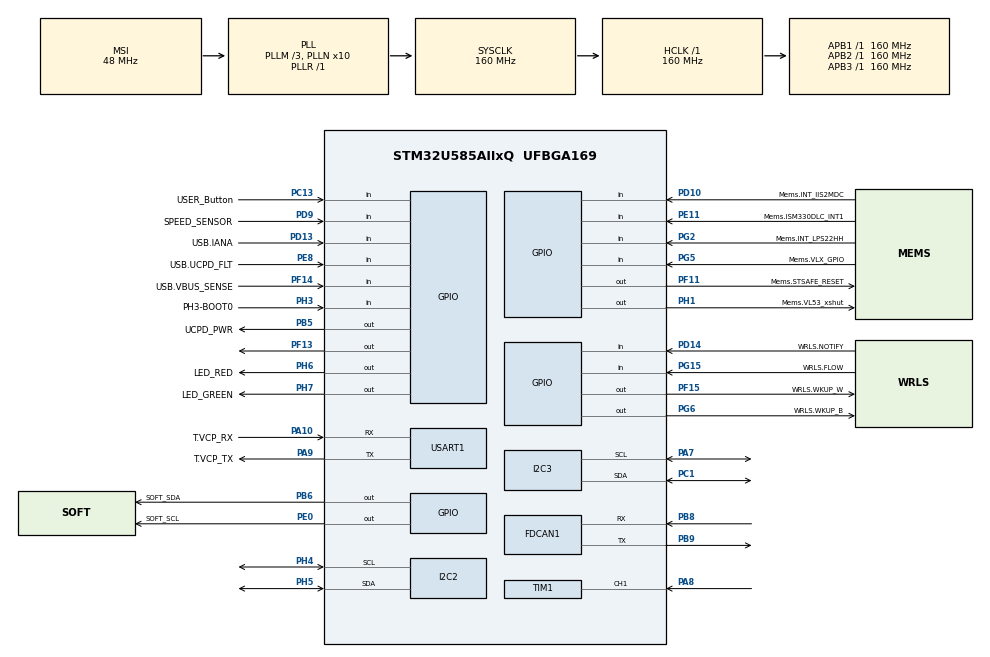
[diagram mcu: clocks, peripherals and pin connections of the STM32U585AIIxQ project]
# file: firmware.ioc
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CORTEX_M33_NS.userName=CORTEX_M33
FDCAN1.AutoRetransmission=ENABLE
FDCAN1.CalculateBaudRateNominal=1000000
FDCAN1.CalculateTimeBitNominal=1000
FDCAN1.CalculateTimeQuantumNominal=62.5
FDCAN1.NominalPrescaler=10
FDCAN1.NominalSyncJumpWidth=2
FDCAN1.NominalTimeSeg1=13
FDCAN1.NominalTimeSeg2=2
FDCAN1.StdFiltersNbr=1
FDCAN1.TxFifoQueueMode=FDCAN_TX_QUEUE_OPERATION
I2C2.Timing=0x30909DEC
I2C3.Timing=0x30909DEC
Mcu.Family=STM32U5
Mcu.Name=STM32U585AIIxQ
Mcu.Package=UFBGA169
NVIC.PriorityGroup=NVIC_PRIORITYGROUP_4
PA10.GPIO_Label=T.VCP_RX
PA10.Mode=Asynchronous
PA10.Signal=USART1_RX
PA11.GPIO_Label=USB.C_P
PA11.Signal=USB_OTG_FS_DM
PA12.GPIO_Label=USB.C_P
PA12.Signal=USB_OTG_FS_DP
PA13\ (JTMS/SWDIO).GPIO_Label=T.SWDIO
PA13\ (JTMS/SWDIO).Signal=DEBUG_JTMS-SWDIO
PA14\ (JTCK/SWCLK).GPIO_Label=T.SWCLK
PA14\ (JTCK/SWCLK).Signal=DEBUG_JTCK-SWCLK
PA15\ (JTDI).GPIO_Label=USB.UCPD_CC1
PA15\ (JTDI).Signal=UCPD1_CC1
PA7.GPIO_Pu=GPIO_PULLUP
PA7.Mode=I2C
PA7.Signal=I2C3_SCL
PA8.Signal=S_TIM1_CH1
PA9.GPIO_Label=T.VCP_TX
PA9.Mode=Asynchronous
PA9.Signal=USART1_TX
PB1.GPIO_Label=MIC.SDIN0
PB1.Signal=MDF1_SDI0
PB10.GPIO_Label=OCTOSPI.R_CLK_P
PB10.Signal=OCTOSPIM_P1_CLK
PB11.GPIO_Label=OCTOSPI.R_NCS
PB11.Signal=OCTOSPIM_P1_NCS
PB12.GPIO_Label=WRLS.SPI2_NSS
PB12.Signal=SPI2_NSS
PB15.GPIO_Label=USB.UCPD_CC2
PB15.Signal=UCPD1_CC2
PB3\ (JTDO/TRACESWO).GPIO_Label=T.SWO
PB3\ (JTDO/TRACESWO).Signal=DEBUG_JTDO-SWO
PB5.GPIO_Label=UCPD_PWR
PB5.Signal=GPIO_Output
PB6.GPIO_Label=SOFT_SDA
PB6.GPIO_ModeDefaultOutputPP=GPIO_MODE_OUTPUT_OD
PB6.GPIO_PuPd=GPIO_NOPULL
PB6.PinState=GPIO_PIN_SET
PB6.Signal=GPIO_Output
PB8.Mode=FDCAN_Activate
PB8.Signal=FDCAN1_RX
PB9.Mode=FDCAN_Activate
PB9.Signal=FDCAN1_TX
PC1.GPIO_Pu=GPIO_PULLUP
PC1.Mode=I2C
PC1.Signal=I2C3_SDA
PC10.GPIO_Label=WRLS.UART4_TX
PC10.Signal=UART4_TX
PC11.GPIO_Label=WRLS.UART4_RX
PC11.Signal=UART4_RX
PC13.GPIO_Label=USER_Button
PC13.Signal=GPIO_Input
PC14-OSC32_IN\ (PC14).GPIO_Label=PC14-OSC32_IN
PC14-OSC32_IN\ (PC14).Signal=RCC_OSC32_IN
PC15-OSC32_OUT\ (PC15).GPIO_Label=PC15-OSC32_OUT
PC15-OSC32_OUT\ (PC15).Signal=RCC_OSC32_OUT
PC3.GPIO_Label=OCTOSPI.R_IO6
PC3.Signal=OCTOSPIM_P1_IO6
PD1.GPIO_Label=WRLS.SPI2_SCK
PD1.Signal=SPI2_SCK
PD10.GPIO_Label=Mems.INT_IIS2MDC
PD10.Signal=GPIO_Input
PD13.GPIO_Label=USB.IANA
PD13.Signal=GPIO_Input
PD14.GPIO_Label=WRLS.NOTIFY
PD14.Signal=GPIO_Input
PD3.GPIO_Label=WRLS.SPI2_MISO
PD3.Signal=SPI2_MISO
PD4.GPIO_Label=WRLS.SPI2_MOSI
PD4.Signal=SPI2_MOSI
PD7.GPIO_Label=OCTOSPI.R_IO7
PD7.Signal=OCTOSPIM_P1_IO7
PD9.GPIO_Label=SPEED_SENSOR
PD9.Signal=GPIO_Input
PE0.GPIO_Label=SOFT_SCL
PE0.GPIO_ModeDefaultOutputPP=GPIO_MODE_OUTPUT_OD
PE0.GPIO_PuPd=GPIO_NOPULL
PE0.PinState=GPIO_PIN_SET
PE0.Signal=GPIO_Output
PE10.GPIO_Label=MIC.SDINx
PE10.Signal=ADF1_SDI0
PE11.GPIO_Label=Mems.ISM330DLC_INT1
PE11.Signal=GPIO_Input
PE3.GPIO_Label=OCTOSPI.R_DQS
PE3.Signal=OCTOSPIM_P1_DQS
PE8.GPIO_Label=USB.UCPD_FLT
PE8.Signal=GPIO_Input
PE9.GPIO_Label=MIC.CCK0
PE9.Signal=ADF1_CCK0
PF0.GPIO_Label=OCTOSPI.F_IO0
PF0.Signal=OCTOSPIM_P2_IO0
PF1.GPIO_Label=OCTOSPI.F_IO1
PF1.Signal=OCTOSPIM_P2_IO1
PF10.GPIO_Label=MIC.CCK1
PF10.Signal=MDF1_CCK1
PF11.GPIO_Label=Mems.STSAFE_RESET
PF11.Signal=GPIO_Output
PF12.GPIO_Label=OCTOSPI.F_DQS
PF12.Signal=OCTOSPIM_P2_DQS
PF13.PinState=GPIO_PIN_SET
PF13.Signal=GPIO_Output
PF14.GPIO_Label=USB.VBUS_SENSE
PF14.Signal=GPIO_Input
PF15.GPIO_Label=WRLS.WKUP_W
PF15.Signal=GPIO_Output
PF2.GPIO_Label=OCTOSPI.F_IO2
PF2.Signal=OCTOSPIM_P2_IO2
PF3.GPIO_Label=OCTOSPI.F_IO3
PF3.Signal=OCTOSPIM_P2_IO3
PF4.GPIO_Label=OCTOSPI.F_CLK_P
PF4.Signal=OCTOSPIM_P2_CLK
PF6.GPIO_Label=OCTOSPI.R_IO3
PF6.Signal=OCTOSPIM_P1_IO3
PF7.GPIO_Label=OCTOSPI.R_IO2
PF7.Signal=OCTOSPIM_P1_IO2
PF8.GPIO_Label=OCTOSPI.R_IO0
PF8.Signal=OCTOSPIM_P1_IO0
PF9.GPIO_Label=OCTOSPI.R_IO1
PF9.Signal=OCTOSPIM_P1_IO1
PG15.GPIO_Label=WRLS.FLOW
PG15.Signal=GPIO_Input
PG2.GPIO_Label=Mems.INT_LPS22HH
PG2.Signal=GPIO_Input
PG5.GPIO_Label=Mems.VLX_GPIO
PG5.Signal=GPIO_Input
PG6.GPIO_Label=WRLS.WKUP_B
PG6.Signal=GPIO_Output
PH1-OSC_OUT\ (PH1).GPIO_Label=Mems.VL53_xshut
PH1-OSC_OUT\ (PH1).Signal=GPIO_Output
PH10.GPIO_Label=OCTOSPI.F_IO5
PH10.Signal=OCTOSPIM_P2_IO5
PH11.GPIO_Label=OCTOSPI.F_IO6
PH11.Signal=OCTOSPIM_P2_IO6
PH12.GPIO_Label=OCTOSPI.F_IO7
PH12.Signal=OCTOSPIM_P2_IO7
PH2.GPIO_Label=OCTOSPI.R_IO4
PH2.Signal=OCTOSPIM_P1_IO4
PH3-BOOT0.GPIO_Label=PH3-BOOT0
PH3-BOOT0.Signal=GPIO_Input
PH4.Mode=I2C
PH4.Signal=I2C2_SCL
PH5.Mode=I2C
PH5.Signal=I2C2_SDA
PH6.GPIO_Label=LED_RED
PH6.Signal=GPIO_Output
PH7.GPIO_Label=LED_GREEN
PH7.Signal=GPIO_Output
PH9.GPIO_Label=OCTOSPI.F_IO4
PH9.Signal=OCTOSPIM_P2_IO4
PI0.GPIO_Label=OCTOSPI.R_IO5
PI0.Signal=OCTOSPIM_P1_IO5
PI5.GPIO_Label=OCTOSPI.F_NCS
PI5.Signal=OCTOSPIM_P2_NCS
PWR.PowerMode=PWR_SMPS_SUPPLY
ProjectManager.HeapSize=0x200
ProjectManager.StackSize=0x400
ProjectManager.TargetToolchain=STM32CubeIDE
RCC.ADCFreq_Value=16000000
RCC.AHBFreq_Value=160000000
RCC.APB1Freq_Value=160000000
RCC.APB1TimFreq_Value=160000000
RCC.APB2Freq_Value=160000000
RCC.APB2TimFreq_Value=160000000
RCC.APB3Freq_Value=160000000
RCC.CortexFreq_Value=160000000
RCC.DACCLockSelectionVirtual=RCC_DAC1CLKSOURCE_LSI
RCC.EPOD_VALUE=48000000
RCC.HCLKFreq_Value=160000000
RCC.HSE_VALUE=16000000
RCC.HSI48_VALUE=48000000
RCC.HSI_VALUE=16000000
RCC.LSE_VALUE=32768
RCC.LSIDIV_VALUE=32000
RCC.MSIClockRange=RCC_MSIRANGE_0
RCC.MSI_VALUE=48000000
RCC.PLL1Q=1
RCC.PLL1R=1
RCC.PLLFRACN=0
RCC.PLLM=3
RCC.PLLN=10
RCC.SYSCLKFreq_VALUE=160000000
RCC.SYSCLKSource=RCC_SYSCLKSOURCE_PLLCLK
RCC.USBFreq_Value=48000000
RCC.VCOOutputFreq_Value=160000000
SH.S_TIM1_CH1.0=TIM1_CH1,TriggerSource_TI1FP1
TIM1.Slave_TriggerFilter=15
USART1.VirtualMode-Asynchronous=VM_ASYNC
VP_ICACHE_VS_ICACHE.Mode=DirectMappedCache
VP_LPBAMQUEUE_VS_QUEUE.Mode=QUEUEMODE
VP_LPBAM_VS_SIG1.Mode=SmartRun
VP_LPBAM_VS_SIG4.Mode=LPDMA1
VP_MEMORYMAP_VS_MEMORYMAP.Mode=CurAppReg
VP_PWR_VS_LPOM.Mode=PowerOptimisation
VP_PWR_VS_SECSignals.Mode=Security/Privilege
VP_THREADX_VS_RTOSJjThreadXJjCoreJjDefault.Mode=Core_Default
VP_TIM1_VS_ControllerModeClock.Mode=Clock Mode
board=B-U585I-IOT02A

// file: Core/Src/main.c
/* USER CODE BEGIN Header */
/**
******************************************************************************
* @file           : main.c
* @brief          : Main program body
******************************************************************************
* @attention
*
* Copyright (c) 2025 STMicroelectronics.
* All rights reserved.
*
* This software is licensed under terms that can be found in the LICENSE file
* in the root directory of this software component.
* If no LICENSE file comes with this software, it is provided AS-IS.
*
******************************************************************************
*/
/* USER CODE END Header */
#include "app_threadx.h"
#include "main.h"

/* USER CODE BEGIN Includes */
#include "speed_sensor.h"
/* USER CODE END Includes */

FDCAN_HandleTypeDef hfdcan1;

I2C_HandleTypeDef hi2c2;
I2C_HandleTypeDef hi2c3;

TIM_HandleTypeDef htim1;

UART_HandleTypeDef huart1;

void SystemClock_Config(void);
static void SystemPower_Config(void);
static void MX_GPIO_Init(void);
static void MX_ICACHE_Init(void);
static void MX_FDCAN1_Init(void);
static void MX_USART1_UART_Init(void);
static void MX_TIM1_Init(void);
static void MX_I2C3_Init(void);
static void MX_I2C2_Init(void);

int main(void)
{

  /* MCU Configuration--------------------------------------------------------*/

  /* Reset of all peripherals, Initializes the Flash interface and the Systick. */
  HAL_Init();

  /* Configure the System Power */
  SystemPower_Config();

  /* Configure the system clock */
  SystemClock_Config();

  /* Initialize all configured peripherals */
  MX_GPIO_Init();
  MX_ICACHE_Init();
  MX_FDCAN1_Init();
  MX_USART1_UART_Init();
  MX_TIM1_Init();
  MX_I2C3_Init();
  MX_I2C2_Init();

  MX_ThreadX_Init();

  /* We should never get here as control is now taken by the scheduler */

  /* Infinite loop */
	while (1)
	{

	}
}

void SystemClock_Config(void)
{
  RCC_OscInitTypeDef RCC_OscInitStruct = {0};
  RCC_ClkInitTypeDef RCC_ClkInitStruct = {0};

  /** Configure the main internal regulator output voltage
  */
  if (HAL_PWREx_ControlVoltageScaling(PWR_REGULATOR_VOLTAGE_SCALE1) != HAL_OK)
  {
    Error_Handler();
  }

  /** Initializes the CPU, AHB and APB buses clocks
  */
  RCC_OscInitStruct.OscillatorType = RCC_OSCILLATORTYPE_MSI;
  RCC_OscInitStruct.MSIState = RCC_MSI_ON;
  RCC_OscInitStruct.MSICalibrationValue = RCC_MSICALIBRATION_DEFAULT;
  RCC_OscInitStruct.MSIClockRange = RCC_MSIRANGE_0;
  RCC_OscInitStruct.PLL.PLLState = RCC_PLL_ON;
  RCC_OscInitStruct.PLL.PLLSource = RCC_PLLSOURCE_MSI;
  RCC_OscInitStruct.PLL.PLLMBOOST = RCC_PLLMBOOST_DIV4;
  RCC_OscInitStruct.PLL.PLLM = 3;
  RCC_OscInitStruct.PLL.PLLN = 10;
  RCC_OscInitStruct.PLL.PLLP = 2;
  RCC_OscInitStruct.PLL.PLLQ = 1;
  RCC_OscInitStruct.PLL.PLLR = 1;
  RCC_OscInitStruct.PLL.PLLRGE = RCC_PLLVCIRANGE_1;
  RCC_OscInitStruct.PLL.PLLFRACN = 0;
  if (HAL_RCC_OscConfig(&RCC_OscInitStruct) != HAL_OK)
  {
    Error_Handler();
  }

  /** Initializes the CPU, AHB and APB buses clocks
  */
  RCC_ClkInitStruct.ClockType = RCC_CLOCKTYPE_HCLK|RCC_CLOCKTYPE_SYSCLK
                              |RCC_CLOCKTYPE_PCLK1|RCC_CLOCKTYPE_PCLK2
                              |RCC_CLOCKTYPE_PCLK3;
  RCC_ClkInitStruct.SYSCLKSource = RCC_SYSCLKSOURCE_PLLCLK;
  RCC_ClkInitStruct.AHBCLKDivider = RCC_SYSCLK_DIV1;
  RCC_ClkInitStruct.APB1CLKDivider = RCC_HCLK_DIV1;
  RCC_ClkInitStruct.APB2CLKDivider = RCC_HCLK_DIV1;
  RCC_ClkInitStruct.APB3CLKDivider = RCC_HCLK_DIV1;

  if (HAL_RCC_ClockConfig(&RCC_ClkInitStruct, FLASH_LATENCY_4) != HAL_OK)
  {
    Error_Handler();
  }
}

/**
  * @brief Power Configuration
  * @retval None
  */
static void SystemPower_Config(void)
{
  HAL_PWREx_EnableVddIO2();

  /*
   * Switch to SMPS regulator instead of LDO
   */
  if (HAL_PWREx_ConfigSupply(PWR_SMPS_SUPPLY) != HAL_OK)
  {
    Error_Handler();
  }
}

static void MX_FDCAN1_Init(void)
{
<<<<<<< HEAD

  /* USER CODE BEGIN FDCAN1_Init 0 */
  char *msg;

	FDCAN_FilterTypeDef sFilterConfig;
  /* USER CODE END FDCAN1_Init 0 */

  /* USER CODE BEGIN FDCAN1_Init 1 */

=======

  /* USER CODE BEGIN FDCAN1_Init 0 */

  /* USER CODE END FDCAN1_Init 0 */

  /* USER CODE BEGIN FDCAN1_Init 1 */

>>>>>>> 745192d0 (Added Ultrasonic sensor code to measure distance)
  /* USER CODE END FDCAN1_Init 1 */
  hfdcan1.Instance = FDCAN1;
  hfdcan1.Init.ClockDivider = FDCAN_CLOCK_DIV1;
  hfdcan1.Init.FrameFormat = FDCAN_FRAME_CLASSIC;
  hfdcan1.Init.Mode = FDCAN_MODE_NORMAL;
<<<<<<< HEAD
  hfdcan1.Init.AutoRetransmission = ENABLE;
  hfdcan1.Init.TransmitPause = DISABLE;
  hfdcan1.Init.ProtocolException = DISABLE;
  hfdcan1.Init.NominalPrescaler = 10;
  hfdcan1.Init.NominalSyncJumpWidth = 2;
  hfdcan1.Init.NominalTimeSeg1 = 13;
  hfdcan1.Init.NominalTimeSeg2 = 2;
=======
  hfdcan1.Init.AutoRetransmission = DISABLE;
  hfdcan1.Init.TransmitPause = DISABLE;
  hfdcan1.Init.ProtocolException = DISABLE;
  hfdcan1.Init.NominalPrescaler = 16;
  hfdcan1.Init.NominalSyncJumpWidth = 1;
  hfdcan1.Init.NominalTimeSeg1 = 1;
  hfdcan1.Init.NominalTimeSeg2 = 1;
>>>>>>> 745192d0 (Added Ultrasonic sensor code to measure distance)
  hfdcan1.Init.DataPrescaler = 1;
  hfdcan1.Init.DataSyncJumpWidth = 1;
  hfdcan1.Init.DataTimeSeg1 = 1;
  hfdcan1.Init.DataTimeSeg2 = 1;
<<<<<<< HEAD
  hfdcan1.Init.StdFiltersNbr = 1;
  hfdcan1.Init.ExtFiltersNbr = 0;
  hfdcan1.Init.TxFifoQueueMode = FDCAN_TX_QUEUE_OPERATION;
=======
  hfdcan1.Init.StdFiltersNbr = 0;
  hfdcan1.Init.ExtFiltersNbr = 0;
  hfdcan1.Init.TxFifoQueueMode = FDCAN_TX_FIFO_OPERATION;
>>>>>>> 745192d0 (Added Ultrasonic sensor code to measure distance)
  if (HAL_FDCAN_Init(&hfdcan1) != HAL_OK)
  {
    Error_Handler();
  }
  /* USER CODE BEGIN FDCAN1_Init 2 */
<<<<<<< HEAD
	sFilterConfig.IdType = FDCAN_STANDARD_ID;
	sFilterConfig.FilterIndex = 0;
	sFilterConfig.FilterType = FDCAN_FILTER_RANGE;
	sFilterConfig.FilterConfig = FDCAN_FILTER_TO_RXFIFO0;
	sFilterConfig.FilterID1 = 0x000;
	sFilterConfig.FilterID2 = 0x7FF;
	if (HAL_FDCAN_ConfigFilter(&hfdcan1, &sFilterConfig) != HAL_OK)
	{
		msg = "FDCAN Filter Config Failed\r\n";
		HAL_UART_Transmit(&huart1, (uint8_t*)msg, strlen(msg), HAL_MAX_DELAY);
		Error_Handler();
	}

	// Activate notifications
	HAL_FDCAN_ActivateNotification(&hfdcan1, FDCAN_IT_RX_FIFO0_NEW_MESSAGE, 0);

	// Start the CAN controller
	if (HAL_FDCAN_Start(&hfdcan1) != HAL_OK)
	{
		msg = "FDCAN Start Failed\r\n";
		HAL_UART_Transmit(&huart1, (uint8_t*)msg, strlen(msg), HAL_MAX_DELAY);
		Error_Handler();
	}
	else
	{
		msg = "FDCAN Started OK\r\n";
		HAL_UART_Transmit(&huart1, (uint8_t*)msg, strlen(msg), HAL_MAX_DELAY);
	}
=======

>>>>>>> 745192d0 (Added Ultrasonic sensor code to measure distance)
  /* USER CODE END FDCAN1_Init 2 */

}

static void MX_I2C2_Init(void)
{

  hi2c2.Instance = I2C2;
  hi2c2.Init.Timing = 0x30909DEC;
  hi2c2.Init.OwnAddress1 = 0;
  hi2c2.Init.AddressingMode = I2C_ADDRESSINGMODE_7BIT;
  hi2c2.Init.DualAddressMode = I2C_DUALADDRESS_DISABLE;
  hi2c2.Init.OwnAddress2 = 0;
  hi2c2.Init.OwnAddress2Masks = I2C_OA2_NOMASK;
  hi2c2.Init.GeneralCallMode = I2C_GENERALCALL_DISABLE;
  hi2c2.Init.NoStretchMode = I2C_NOSTRETCH_DISABLE;
  if (HAL_I2C_Init(&hi2c2) != HAL_OK)
  {
    Error_Handler();
  }

  /** Configure Analogue filter
  */
  if (HAL_I2CEx_ConfigAnalogFilter(&hi2c2, I2C_ANALOGFILTER_ENABLE) != HAL_OK)
  {
    Error_Handler();
  }

  /** Configure Digital filter
  */
  if (HAL_I2CEx_ConfigDigitalFilter(&hi2c2, 0) != HAL_OK)
  {
    Error_Handler();
  }

}

static void MX_I2C3_Init(void)
{

  hi2c3.Instance = I2C3;
  hi2c3.Init.Timing = 0x30909DEC;
  hi2c3.Init.OwnAddress1 = 0;
  hi2c3.Init.AddressingMode = I2C_ADDRESSINGMODE_7BIT;
  hi2c3.Init.DualAddressMode = I2C_DUALADDRESS_DISABLE;
  hi2c3.Init.OwnAddress2 = 0;
  hi2c3.Init.OwnAddress2Masks = I2C_OA2_NOMASK;
  hi2c3.Init.GeneralCallMode = I2C_GENERALCALL_DISABLE;
  hi2c3.Init.NoStretchMode = I2C_NOSTRETCH_DISABLE;
  if (HAL_I2C_Init(&hi2c3) != HAL_OK)
  {
    Error_Handler();
  }

  /** Configure Analogue filter
  */
  if (HAL_I2CEx_ConfigAnalogFilter(&hi2c3, I2C_ANALOGFILTER_ENABLE) != HAL_OK)
  {
    Error_Handler();
  }

  /** Configure Digital filter
  */
  if (HAL_I2CEx_ConfigDigitalFilter(&hi2c3, 0) != HAL_OK)
  {
    Error_Handler();
  }

}

static void MX_ICACHE_Init(void)
{

  /** Enable instruction cache in 1-way (direct mapped cache)
  */
  if (HAL_ICACHE_ConfigAssociativityMode(ICACHE_1WAY) != HAL_OK)
  {
    Error_Handler();
  }
  if (HAL_ICACHE_Enable() != HAL_OK)
  {
    Error_Handler();
  }

}

static void MX_TIM1_Init(void)
{

  TIM_SlaveConfigTypeDef sSlaveConfig = {0};
  TIM_MasterConfigTypeDef sMasterConfig = {0};

  htim1.Instance = TIM1;
  htim1.Init.Prescaler = 0;
  htim1.Init.CounterMode = TIM_COUNTERMODE_UP;
  htim1.Init.Period = 65535;
  htim1.Init.ClockDivision = TIM_CLOCKDIVISION_DIV1;
  htim1.Init.RepetitionCounter = 0;
  htim1.Init.AutoReloadPreload = TIM_AUTORELOAD_PRELOAD_DISABLE;
  if (HAL_TIM_Base_Init(&htim1) != HAL_OK)
  {
    Error_Handler();
  }
  sSlaveConfig.SlaveMode = TIM_SLAVEMODE_EXTERNAL1;
  sSlaveConfig.InputTrigger = TIM_TS_TI1FP1;
  sSlaveConfig.TriggerPolarity = TIM_TRIGGERPOLARITY_RISING;
  sSlaveConfig.TriggerFilter = 15;
  if (HAL_TIM_SlaveConfigSynchro(&htim1, &sSlaveConfig) != HAL_OK)
  {
    Error_Handler();
  }
  sMasterConfig.MasterOutputTrigger = TIM_TRGO_RESET;
  sMasterConfig.MasterOutputTrigger2 = TIM_TRGO2_RESET;
  sMasterConfig.MasterSlaveMode = TIM_MASTERSLAVEMODE_DISABLE;
  if (HAL_TIMEx_MasterConfigSynchronization(&htim1, &sMasterConfig) != HAL_OK)
  {
    Error_Handler();
  }

}

static void MX_USART1_UART_Init(void)
{

  huart1.Instance = USART1;
  huart1.Init.BaudRate = 115200;
  huart1.Init.WordLength = UART_WORDLENGTH_8B;
  huart1.Init.StopBits = UART_STOPBITS_1;
  huart1.Init.Parity = UART_PARITY_NONE;
  huart1.Init.Mode = UART_MODE_TX_RX;
  huart1.Init.HwFlowCtl = UART_HWCONTROL_NONE;
  huart1.Init.OverSampling = UART_OVERSAMPLING_16;
  huart1.Init.OneBitSampling = UART_ONE_BIT_SAMPLE_DISABLE;
  huart1.Init.ClockPrescaler = UART_PRESCALER_DIV1;
  huart1.AdvancedInit.AdvFeatureInit = UART_ADVFEATURE_NO_INIT;
  if (HAL_UART_Init(&huart1) != HAL_OK)
  {
    Error_Handler();
  }
  if (HAL_UARTEx_SetTxFifoThreshold(&huart1, UART_TXFIFO_THRESHOLD_1_8) != HAL_OK)
  {
    Error_Handler();
  }
  if (HAL_UARTEx_SetRxFifoThreshold(&huart1, UART_RXFIFO_THRESHOLD_1_8) != HAL_OK)
  {
    Error_Handler();
  }
  if (HAL_UARTEx_DisableFifoMode(&huart1) != HAL_OK)
  {
    Error_Handler();
  }

}

static void MX_GPIO_Init(void)
{
  GPIO_InitTypeDef GPIO_InitStruct = {0};

  /* GPIO Ports Clock Enable */
  __HAL_RCC_GPIOG_CLK_ENABLE();
  __HAL_RCC_GPIOC_CLK_ENABLE();
  __HAL_RCC_GPIOA_CLK_ENABLE();
  __HAL_RCC_GPIOI_CLK_ENABLE();
<<<<<<< HEAD
  __HAL_RCC_GPIOH_CLK_ENABLE();
  __HAL_RCC_GPIOB_CLK_ENABLE();
=======
  __HAL_RCC_GPIOB_CLK_ENABLE();
  __HAL_RCC_GPIOH_CLK_ENABLE();
>>>>>>> 745192d0 (Added Ultrasonic sensor code to measure distance)
  __HAL_RCC_GPIOD_CLK_ENABLE();
  __HAL_RCC_GPIOE_CLK_ENABLE();
  __HAL_RCC_GPIOF_CLK_ENABLE();

  /*Configure GPIO pin Output Level */
<<<<<<< HEAD
  HAL_GPIO_WritePin(UCPD_PWR_GPIO_Port, UCPD_PWR_Pin, GPIO_PIN_RESET);

  /*Configure GPIO pin Output Level */
  HAL_GPIO_WritePin(GPIOH, LED_RED_Pin|LED_GREEN_Pin|Mems_VL53_xshut_Pin, GPIO_PIN_RESET);

  /*Configure GPIO pin Output Level */
  HAL_GPIO_WritePin(WRLS_WKUP_B_GPIO_Port, WRLS_WKUP_B_Pin, GPIO_PIN_RESET);

  /*Configure GPIO pin Output Level */
  HAL_GPIO_WritePin(GPIOF, Mems_STSAFE_RESET_Pin|WRLS_WKUP_W_Pin, GPIO_PIN_RESET);

  /*Configure GPIO pin Output Level */
  HAL_GPIO_WritePin(GPIOF, GPIO_PIN_13, GPIO_PIN_SET);

  /*Configure GPIO pins : WRLS_FLOW_Pin Mems_VLX_GPIO_Pin Mems_INT_LPS22HH_Pin */
  GPIO_InitStruct.Pin = WRLS_FLOW_Pin|Mems_VLX_GPIO_Pin|Mems_INT_LPS22HH_Pin;
  GPIO_InitStruct.Mode = GPIO_MODE_INPUT;
  GPIO_InitStruct.Pull = GPIO_NOPULL;
  HAL_GPIO_Init(GPIOG, &GPIO_InitStruct);

  /*Configure GPIO pins : WRLS_UART4_RX_Pin WRLS_UART4_TX_Pin */
  GPIO_InitStruct.Pin = WRLS_UART4_RX_Pin|WRLS_UART4_TX_Pin;
  GPIO_InitStruct.Mode = GPIO_MODE_AF_PP;
  GPIO_InitStruct.Pull = GPIO_NOPULL;
  GPIO_InitStruct.Speed = GPIO_SPEED_FREQ_LOW;
  GPIO_InitStruct.Alternate = GPIO_AF8_UART4;
  HAL_GPIO_Init(GPIOC, &GPIO_InitStruct);

  /*Configure GPIO pin : USB_UCPD_CC1_Pin */
  GPIO_InitStruct.Pin = USB_UCPD_CC1_Pin;
  GPIO_InitStruct.Mode = GPIO_MODE_ANALOG;
  GPIO_InitStruct.Pull = GPIO_NOPULL;
  HAL_GPIO_Init(USB_UCPD_CC1_GPIO_Port, &GPIO_InitStruct);

  /*Configure GPIO pin : OCTOSPI_F_NCS_Pin */
  GPIO_InitStruct.Pin = OCTOSPI_F_NCS_Pin;
  GPIO_InitStruct.Mode = GPIO_MODE_AF_PP;
  GPIO_InitStruct.Pull = GPIO_NOPULL;
  GPIO_InitStruct.Speed = GPIO_SPEED_FREQ_VERY_HIGH;
  GPIO_InitStruct.Alternate = GPIO_AF5_OCTOSPI2;
  HAL_GPIO_Init(OCTOSPI_F_NCS_GPIO_Port, &GPIO_InitStruct);

  /*Configure GPIO pin : OCTOSPI_R_IO5_Pin */
  GPIO_InitStruct.Pin = OCTOSPI_R_IO5_Pin;
  GPIO_InitStruct.Mode = GPIO_MODE_AF_PP;
  GPIO_InitStruct.Pull = GPIO_NOPULL;
  GPIO_InitStruct.Speed = GPIO_SPEED_FREQ_VERY_HIGH;
  GPIO_InitStruct.Alternate = GPIO_AF3_OCTOSPI1;
  HAL_GPIO_Init(OCTOSPI_R_IO5_GPIO_Port, &GPIO_InitStruct);

  /*Configure GPIO pins : OCTOSPI_F_IO7_Pin OCTOSPI_F_IO5_Pin OCTOSPI_F_IO6_Pin OCTOSPI_F_IO4_Pin */
  GPIO_InitStruct.Pin = OCTOSPI_F_IO7_Pin|OCTOSPI_F_IO5_Pin|OCTOSPI_F_IO6_Pin|OCTOSPI_F_IO4_Pin;
=======
  HAL_GPIO_WritePin(SOFT_SDA_GPIO_Port, SOFT_SDA_Pin, GPIO_PIN_SET);

  /*Configure GPIO pin Output Level */
  HAL_GPIO_WritePin(UCPD_PWR_GPIO_Port, UCPD_PWR_Pin, GPIO_PIN_RESET);

  /*Configure GPIO pin Output Level */
  HAL_GPIO_WritePin(SOFT_SCL_GPIO_Port, SOFT_SCL_Pin, GPIO_PIN_SET);

  /*Configure GPIO pin Output Level */
  HAL_GPIO_WritePin(GPIOH, LED_RED_Pin|LED_GREEN_Pin|Mems_VL53_xshut_Pin, GPIO_PIN_RESET);

  /*Configure GPIO pin Output Level */
  HAL_GPIO_WritePin(WRLS_WKUP_B_GPIO_Port, WRLS_WKUP_B_Pin, GPIO_PIN_RESET);

  /*Configure GPIO pin Output Level */
  HAL_GPIO_WritePin(GPIOF, Mems_STSAFE_RESET_Pin|WRLS_WKUP_W_Pin, GPIO_PIN_RESET);

  /*Configure GPIO pin Output Level */
  HAL_GPIO_WritePin(GPIOF, GPIO_PIN_13, GPIO_PIN_SET);

  /*Configure GPIO pins : WRLS_FLOW_Pin Mems_VLX_GPIO_Pin Mems_INT_LPS22HH_Pin */
  GPIO_InitStruct.Pin = WRLS_FLOW_Pin|Mems_VLX_GPIO_Pin|Mems_INT_LPS22HH_Pin;
  GPIO_InitStruct.Mode = GPIO_MODE_INPUT;
  GPIO_InitStruct.Pull = GPIO_NOPULL;
  HAL_GPIO_Init(GPIOG, &GPIO_InitStruct);

  /*Configure GPIO pins : WRLS_UART4_RX_Pin WRLS_UART4_TX_Pin */
  GPIO_InitStruct.Pin = WRLS_UART4_RX_Pin|WRLS_UART4_TX_Pin;
  GPIO_InitStruct.Mode = GPIO_MODE_AF_PP;
  GPIO_InitStruct.Pull = GPIO_NOPULL;
  GPIO_InitStruct.Speed = GPIO_SPEED_FREQ_LOW;
  GPIO_InitStruct.Alternate = GPIO_AF8_UART4;
  HAL_GPIO_Init(GPIOC, &GPIO_InitStruct);

  /*Configure GPIO pin : USB_UCPD_CC1_Pin */
  GPIO_InitStruct.Pin = USB_UCPD_CC1_Pin;
  GPIO_InitStruct.Mode = GPIO_MODE_ANALOG;
  GPIO_InitStruct.Pull = GPIO_NOPULL;
  HAL_GPIO_Init(USB_UCPD_CC1_GPIO_Port, &GPIO_InitStruct);

  /*Configure GPIO pin : OCTOSPI_F_NCS_Pin */
  GPIO_InitStruct.Pin = OCTOSPI_F_NCS_Pin;
>>>>>>> 745192d0 (Added Ultrasonic sensor code to measure distance)
  GPIO_InitStruct.Mode = GPIO_MODE_AF_PP;
  GPIO_InitStruct.Pull = GPIO_NOPULL;
  GPIO_InitStruct.Speed = GPIO_SPEED_FREQ_VERY_HIGH;
  GPIO_InitStruct.Alternate = GPIO_AF5_OCTOSPI2;
<<<<<<< HEAD
  HAL_GPIO_Init(GPIOH, &GPIO_InitStruct);

  /*Configure GPIO pin : PH3_BOOT0_Pin */
  GPIO_InitStruct.Pin = PH3_BOOT0_Pin;
  GPIO_InitStruct.Mode = GPIO_MODE_INPUT;
  GPIO_InitStruct.Pull = GPIO_NOPULL;
  HAL_GPIO_Init(PH3_BOOT0_GPIO_Port, &GPIO_InitStruct);

  /*Configure GPIO pin : UCPD_PWR_Pin */
  GPIO_InitStruct.Pin = UCPD_PWR_Pin;
  GPIO_InitStruct.Mode = GPIO_MODE_OUTPUT_PP;
  GPIO_InitStruct.Pull = GPIO_NOPULL;
  GPIO_InitStruct.Speed = GPIO_SPEED_FREQ_LOW;
  HAL_GPIO_Init(UCPD_PWR_GPIO_Port, &GPIO_InitStruct);

  /*Configure GPIO pins : WRLS_SPI2_MOSI_Pin WRLS_SPI2_MISO_Pin WRLS_SPI2_SCK_Pin */
  GPIO_InitStruct.Pin = WRLS_SPI2_MOSI_Pin|WRLS_SPI2_MISO_Pin|WRLS_SPI2_SCK_Pin;
  GPIO_InitStruct.Mode = GPIO_MODE_AF_PP;
  GPIO_InitStruct.Pull = GPIO_NOPULL;
  GPIO_InitStruct.Speed = GPIO_SPEED_FREQ_LOW;
  GPIO_InitStruct.Alternate = GPIO_AF5_SPI2;
  HAL_GPIO_Init(GPIOD, &GPIO_InitStruct);

  /*Configure GPIO pin : OCTOSPI_R_DQS_Pin */
  GPIO_InitStruct.Pin = OCTOSPI_R_DQS_Pin;
  GPIO_InitStruct.Mode = GPIO_MODE_AF_PP;
  GPIO_InitStruct.Pull = GPIO_NOPULL;
  GPIO_InitStruct.Speed = GPIO_SPEED_FREQ_VERY_HIGH;
  GPIO_InitStruct.Alternate = GPIO_AF3_OCTOSPI1;
  HAL_GPIO_Init(OCTOSPI_R_DQS_GPIO_Port, &GPIO_InitStruct);

  /*Configure GPIO pin : OCTOSPI_R_IO7_Pin */
  GPIO_InitStruct.Pin = OCTOSPI_R_IO7_Pin;
  GPIO_InitStruct.Mode = GPIO_MODE_AF_PP;
  GPIO_InitStruct.Pull = GPIO_NOPULL;
  GPIO_InitStruct.Speed = GPIO_SPEED_FREQ_VERY_HIGH;
  GPIO_InitStruct.Alternate = GPIO_AF10_OCTOSPI1;
  HAL_GPIO_Init(OCTOSPI_R_IO7_GPIO_Port, &GPIO_InitStruct);

  /*Configure GPIO pins : OCTOSPI_F_IO0_Pin OCTOSPI_F_IO1_Pin OCTOSPI_F_IO2_Pin OCTOSPI_F_IO3_Pin
                           OCTOSPI_F_CLK_P_Pin OCTOSPI_F_DQS_Pin */
  GPIO_InitStruct.Pin = OCTOSPI_F_IO0_Pin|OCTOSPI_F_IO1_Pin|OCTOSPI_F_IO2_Pin|OCTOSPI_F_IO3_Pin
                          |OCTOSPI_F_CLK_P_Pin|OCTOSPI_F_DQS_Pin;
  GPIO_InitStruct.Mode = GPIO_MODE_AF_PP;
  GPIO_InitStruct.Pull = GPIO_NOPULL;
  GPIO_InitStruct.Speed = GPIO_SPEED_FREQ_VERY_HIGH;
  GPIO_InitStruct.Alternate = GPIO_AF5_OCTOSPI2;
  HAL_GPIO_Init(GPIOF, &GPIO_InitStruct);

  /*Configure GPIO pin : USER_Button_Pin */
  GPIO_InitStruct.Pin = USER_Button_Pin;
  GPIO_InitStruct.Mode = GPIO_MODE_INPUT;
  GPIO_InitStruct.Pull = GPIO_NOPULL;
  HAL_GPIO_Init(USER_Button_GPIO_Port, &GPIO_InitStruct);

  /*Configure GPIO pins : LED_RED_Pin LED_GREEN_Pin Mems_VL53_xshut_Pin */
  GPIO_InitStruct.Pin = LED_RED_Pin|LED_GREEN_Pin|Mems_VL53_xshut_Pin;
  GPIO_InitStruct.Mode = GPIO_MODE_OUTPUT_PP;
  GPIO_InitStruct.Pull = GPIO_NOPULL;
  GPIO_InitStruct.Speed = GPIO_SPEED_FREQ_LOW;
  HAL_GPIO_Init(GPIOH, &GPIO_InitStruct);

  /*Configure GPIO pins : OCTOSPI_R_IO0_Pin OCTOSPI_R_IO2_Pin OCTOSPI_R_IO1_Pin OCTOSPI_R_IO3_Pin */
  GPIO_InitStruct.Pin = OCTOSPI_R_IO0_Pin|OCTOSPI_R_IO2_Pin|OCTOSPI_R_IO1_Pin|OCTOSPI_R_IO3_Pin;
=======
  HAL_GPIO_Init(OCTOSPI_F_NCS_GPIO_Port, &GPIO_InitStruct);

  /*Configure GPIO pin : SOFT_SDA_Pin */
  GPIO_InitStruct.Pin = SOFT_SDA_Pin;
  GPIO_InitStruct.Mode = GPIO_MODE_OUTPUT_OD;
  GPIO_InitStruct.Pull = GPIO_NOPULL;
  GPIO_InitStruct.Speed = GPIO_SPEED_FREQ_LOW;
  HAL_GPIO_Init(SOFT_SDA_GPIO_Port, &GPIO_InitStruct);

  /*Configure GPIO pin : OCTOSPI_R_IO5_Pin */
  GPIO_InitStruct.Pin = OCTOSPI_R_IO5_Pin;
  GPIO_InitStruct.Mode = GPIO_MODE_AF_PP;
  GPIO_InitStruct.Pull = GPIO_NOPULL;
  GPIO_InitStruct.Speed = GPIO_SPEED_FREQ_VERY_HIGH;
  GPIO_InitStruct.Alternate = GPIO_AF3_OCTOSPI1;
  HAL_GPIO_Init(OCTOSPI_R_IO5_GPIO_Port, &GPIO_InitStruct);

  /*Configure GPIO pins : OCTOSPI_F_IO7_Pin OCTOSPI_F_IO5_Pin OCTOSPI_F_IO6_Pin OCTOSPI_F_IO4_Pin */
  GPIO_InitStruct.Pin = OCTOSPI_F_IO7_Pin|OCTOSPI_F_IO5_Pin|OCTOSPI_F_IO6_Pin|OCTOSPI_F_IO4_Pin;
  GPIO_InitStruct.Mode = GPIO_MODE_AF_PP;
  GPIO_InitStruct.Pull = GPIO_NOPULL;
  GPIO_InitStruct.Speed = GPIO_SPEED_FREQ_VERY_HIGH;
  GPIO_InitStruct.Alternate = GPIO_AF5_OCTOSPI2;
  HAL_GPIO_Init(GPIOH, &GPIO_InitStruct);

  /*Configure GPIO pin : PH3_BOOT0_Pin */
  GPIO_InitStruct.Pin = PH3_BOOT0_Pin;
  GPIO_InitStruct.Mode = GPIO_MODE_INPUT;
  GPIO_InitStruct.Pull = GPIO_NOPULL;
  HAL_GPIO_Init(PH3_BOOT0_GPIO_Port, &GPIO_InitStruct);

  /*Configure GPIO pin : UCPD_PWR_Pin */
  GPIO_InitStruct.Pin = UCPD_PWR_Pin;
  GPIO_InitStruct.Mode = GPIO_MODE_OUTPUT_PP;
  GPIO_InitStruct.Pull = GPIO_NOPULL;
  GPIO_InitStruct.Speed = GPIO_SPEED_FREQ_LOW;
  HAL_GPIO_Init(UCPD_PWR_GPIO_Port, &GPIO_InitStruct);

  /*Configure GPIO pins : WRLS_SPI2_MOSI_Pin WRLS_SPI2_MISO_Pin WRLS_SPI2_SCK_Pin */
  GPIO_InitStruct.Pin = WRLS_SPI2_MOSI_Pin|WRLS_SPI2_MISO_Pin|WRLS_SPI2_SCK_Pin;
  GPIO_InitStruct.Mode = GPIO_MODE_AF_PP;
  GPIO_InitStruct.Pull = GPIO_NOPULL;
  GPIO_InitStruct.Speed = GPIO_SPEED_FREQ_LOW;
  GPIO_InitStruct.Alternate = GPIO_AF5_SPI2;
  HAL_GPIO_Init(GPIOD, &GPIO_InitStruct);

  /*Configure GPIO pin : OCTOSPI_R_DQS_Pin */
  GPIO_InitStruct.Pin = OCTOSPI_R_DQS_Pin;
  GPIO_InitStruct.Mode = GPIO_MODE_AF_PP;
  GPIO_InitStruct.Pull = GPIO_NOPULL;
  GPIO_InitStruct.Speed = GPIO_SPEED_FREQ_VERY_HIGH;
  GPIO_InitStruct.Alternate = GPIO_AF3_OCTOSPI1;
  HAL_GPIO_Init(OCTOSPI_R_DQS_GPIO_Port, &GPIO_InitStruct);

  /*Configure GPIO pin : SOFT_SCL_Pin */
  GPIO_InitStruct.Pin = SOFT_SCL_Pin;
  GPIO_InitStruct.Mode = GPIO_MODE_OUTPUT_OD;
  GPIO_InitStruct.Pull = GPIO_NOPULL;
  GPIO_InitStruct.Speed = GPIO_SPEED_FREQ_LOW;
  HAL_GPIO_Init(SOFT_SCL_GPIO_Port, &GPIO_InitStruct);

  /*Configure GPIO pin : OCTOSPI_R_IO7_Pin */
  GPIO_InitStruct.Pin = OCTOSPI_R_IO7_Pin;
>>>>>>> 745192d0 (Added Ultrasonic sensor code to measure distance)
  GPIO_InitStruct.Mode = GPIO_MODE_AF_PP;
  GPIO_InitStruct.Pull = GPIO_NOPULL;
  GPIO_InitStruct.Speed = GPIO_SPEED_FREQ_VERY_HIGH;
  GPIO_InitStruct.Alternate = GPIO_AF10_OCTOSPI1;
<<<<<<< HEAD
  HAL_GPIO_Init(GPIOF, &GPIO_InitStruct);

  /*Configure GPIO pin : OCTOSPI_R_IO4_Pin */
  GPIO_InitStruct.Pin = OCTOSPI_R_IO4_Pin;
  GPIO_InitStruct.Mode = GPIO_MODE_AF_PP;
  GPIO_InitStruct.Pull = GPIO_NOPULL;
  GPIO_InitStruct.Speed = GPIO_SPEED_FREQ_VERY_HIGH;
  GPIO_InitStruct.Alternate = GPIO_AF3_OCTOSPI1;
  HAL_GPIO_Init(OCTOSPI_R_IO4_GPIO_Port, &GPIO_InitStruct);

  /*Configure GPIO pins : USB_C_P_Pin USB_C_PA11_Pin */
  GPIO_InitStruct.Pin = USB_C_P_Pin|USB_C_PA11_Pin;
  GPIO_InitStruct.Mode = GPIO_MODE_AF_PP;
  GPIO_InitStruct.Pull = GPIO_NOPULL;
  GPIO_InitStruct.Speed = GPIO_SPEED_FREQ_LOW;
  GPIO_InitStruct.Alternate = GPIO_AF10_USB;
  HAL_GPIO_Init(GPIOA, &GPIO_InitStruct);

  /*Configure GPIO pin : MIC_CCK1_Pin */
  GPIO_InitStruct.Pin = MIC_CCK1_Pin;
  GPIO_InitStruct.Mode = GPIO_MODE_AF_PP;
  GPIO_InitStruct.Pull = GPIO_NOPULL;
  GPIO_InitStruct.Speed = GPIO_SPEED_FREQ_LOW;
  GPIO_InitStruct.Alternate = GPIO_AF6_MDF1;
  HAL_GPIO_Init(MIC_CCK1_GPIO_Port, &GPIO_InitStruct);

  /*Configure GPIO pins : MIC_SDINx_Pin MIC_CCK0_Pin */
  GPIO_InitStruct.Pin = MIC_SDINx_Pin|MIC_CCK0_Pin;
  GPIO_InitStruct.Mode = GPIO_MODE_AF_PP;
  GPIO_InitStruct.Pull = GPIO_NOPULL;
  GPIO_InitStruct.Speed = GPIO_SPEED_FREQ_LOW;
  GPIO_InitStruct.Alternate = GPIO_AF3_ADF1;
  HAL_GPIO_Init(GPIOE, &GPIO_InitStruct);

  /*Configure GPIO pin : WRLS_WKUP_B_Pin */
  GPIO_InitStruct.Pin = WRLS_WKUP_B_Pin;
  GPIO_InitStruct.Mode = GPIO_MODE_OUTPUT_PP;
  GPIO_InitStruct.Pull = GPIO_NOPULL;
  GPIO_InitStruct.Speed = GPIO_SPEED_FREQ_LOW;
  HAL_GPIO_Init(WRLS_WKUP_B_GPIO_Port, &GPIO_InitStruct);

  /*Configure GPIO pins : WRLS_NOTIFY_Pin Mems_INT_IIS2MDC_Pin USB_IANA_Pin SPEED_SENSOR_Pin */
  GPIO_InitStruct.Pin = WRLS_NOTIFY_Pin|Mems_INT_IIS2MDC_Pin|USB_IANA_Pin|SPEED_SENSOR_Pin;
  GPIO_InitStruct.Mode = GPIO_MODE_INPUT;
  GPIO_InitStruct.Pull = GPIO_NOPULL;
  HAL_GPIO_Init(GPIOD, &GPIO_InitStruct);

  /*Configure GPIO pin : OCTOSPI_R_IO6_Pin */
  GPIO_InitStruct.Pin = OCTOSPI_R_IO6_Pin;
  GPIO_InitStruct.Mode = GPIO_MODE_AF_PP;
  GPIO_InitStruct.Pull = GPIO_NOPULL;
  GPIO_InitStruct.Speed = GPIO_SPEED_FREQ_VERY_HIGH;
  GPIO_InitStruct.Alternate = GPIO_AF10_OCTOSPI1;
  HAL_GPIO_Init(OCTOSPI_R_IO6_GPIO_Port, &GPIO_InitStruct);

  /*Configure GPIO pins : USB_UCPD_FLT_Pin Mems_ISM330DLC_INT1_Pin */
  GPIO_InitStruct.Pin = USB_UCPD_FLT_Pin|Mems_ISM330DLC_INT1_Pin;
  GPIO_InitStruct.Mode = GPIO_MODE_INPUT;
  GPIO_InitStruct.Pull = GPIO_NOPULL;
  HAL_GPIO_Init(GPIOE, &GPIO_InitStruct);

  /*Configure GPIO pins : OCTOSPI_R_CLK_P_Pin OCTOSPI_R_NCS_Pin */
  GPIO_InitStruct.Pin = OCTOSPI_R_CLK_P_Pin|OCTOSPI_R_NCS_Pin;
  GPIO_InitStruct.Mode = GPIO_MODE_AF_PP;
  GPIO_InitStruct.Pull = GPIO_NOPULL;
  GPIO_InitStruct.Speed = GPIO_SPEED_FREQ_VERY_HIGH;
  GPIO_InitStruct.Alternate = GPIO_AF10_OCTOSPI1;
  HAL_GPIO_Init(GPIOB, &GPIO_InitStruct);

  /*Configure GPIO pin : USB_VBUS_SENSE_Pin */
  GPIO_InitStruct.Pin = USB_VBUS_SENSE_Pin;
  GPIO_InitStruct.Mode = GPIO_MODE_INPUT;
  GPIO_InitStruct.Pull = GPIO_NOPULL;
  HAL_GPIO_Init(USB_VBUS_SENSE_GPIO_Port, &GPIO_InitStruct);

  /*Configure GPIO pin : WRLS_SPI2_NSS_Pin */
  GPIO_InitStruct.Pin = WRLS_SPI2_NSS_Pin;
  GPIO_InitStruct.Mode = GPIO_MODE_AF_PP;
  GPIO_InitStruct.Pull = GPIO_NOPULL;
  GPIO_InitStruct.Speed = GPIO_SPEED_FREQ_LOW;
  GPIO_InitStruct.Alternate = GPIO_AF5_SPI2;
  HAL_GPIO_Init(WRLS_SPI2_NSS_GPIO_Port, &GPIO_InitStruct);

  /*Configure GPIO pin : USB_UCPD_CC2_Pin */
  GPIO_InitStruct.Pin = USB_UCPD_CC2_Pin;
  GPIO_InitStruct.Mode = GPIO_MODE_ANALOG;
  GPIO_InitStruct.Pull = GPIO_NOPULL;
  HAL_GPIO_Init(USB_UCPD_CC2_GPIO_Port, &GPIO_InitStruct);

  /*Configure GPIO pins : Mems_STSAFE_RESET_Pin PF13 WRLS_WKUP_W_Pin */
  GPIO_InitStruct.Pin = Mems_STSAFE_RESET_Pin|GPIO_PIN_13|WRLS_WKUP_W_Pin;
  GPIO_InitStruct.Mode = GPIO_MODE_OUTPUT_PP;
  GPIO_InitStruct.Pull = GPIO_NOPULL;
  GPIO_InitStruct.Speed = GPIO_SPEED_FREQ_LOW;
  HAL_GPIO_Init(GPIOF, &GPIO_InitStruct);

  /*Configure GPIO pin : MIC_SDIN0_Pin */
  GPIO_InitStruct.Pin = MIC_SDIN0_Pin;
  GPIO_InitStruct.Mode = GPIO_MODE_AF_PP;
  GPIO_InitStruct.Pull = GPIO_NOPULL;
  GPIO_InitStruct.Speed = GPIO_SPEED_FREQ_LOW;
  GPIO_InitStruct.Alternate = GPIO_AF6_MDF1;
  HAL_GPIO_Init(MIC_SDIN0_GPIO_Port, &GPIO_InitStruct);

  /* USER CODE BEGIN MX_GPIO_Init_2 */

=======
  HAL_GPIO_Init(OCTOSPI_R_IO7_GPIO_Port, &GPIO_InitStruct);

  /*Configure GPIO pins : OCTOSPI_F_IO0_Pin OCTOSPI_F_IO1_Pin OCTOSPI_F_IO2_Pin OCTOSPI_F_IO3_Pin
                           OCTOSPI_F_CLK_P_Pin OCTOSPI_F_DQS_Pin */
  GPIO_InitStruct.Pin = OCTOSPI_F_IO0_Pin|OCTOSPI_F_IO1_Pin|OCTOSPI_F_IO2_Pin|OCTOSPI_F_IO3_Pin
                          |OCTOSPI_F_CLK_P_Pin|OCTOSPI_F_DQS_Pin;
  GPIO_InitStruct.Mode = GPIO_MODE_AF_PP;
  GPIO_InitStruct.Pull = GPIO_NOPULL;
  GPIO_InitStruct.Speed = GPIO_SPEED_FREQ_VERY_HIGH;
  GPIO_InitStruct.Alternate = GPIO_AF5_OCTOSPI2;
  HAL_GPIO_Init(GPIOF, &GPIO_InitStruct);

  /*Configure GPIO pin : USER_Button_Pin */
  GPIO_InitStruct.Pin = USER_Button_Pin;
  GPIO_InitStruct.Mode = GPIO_MODE_INPUT;
  GPIO_InitStruct.Pull = GPIO_NOPULL;
  HAL_GPIO_Init(USER_Button_GPIO_Port, &GPIO_InitStruct);

  /*Configure GPIO pins : LED_RED_Pin LED_GREEN_Pin Mems_VL53_xshut_Pin */
  GPIO_InitStruct.Pin = LED_RED_Pin|LED_GREEN_Pin|Mems_VL53_xshut_Pin;
  GPIO_InitStruct.Mode = GPIO_MODE_OUTPUT_PP;
  GPIO_InitStruct.Pull = GPIO_NOPULL;
  GPIO_InitStruct.Speed = GPIO_SPEED_FREQ_LOW;
  HAL_GPIO_Init(GPIOH, &GPIO_InitStruct);

  /*Configure GPIO pins : OCTOSPI_R_IO0_Pin OCTOSPI_R_IO2_Pin OCTOSPI_R_IO1_Pin OCTOSPI_R_IO3_Pin */
  GPIO_InitStruct.Pin = OCTOSPI_R_IO0_Pin|OCTOSPI_R_IO2_Pin|OCTOSPI_R_IO1_Pin|OCTOSPI_R_IO3_Pin;
  GPIO_InitStruct.Mode = GPIO_MODE_AF_PP;
  GPIO_InitStruct.Pull = GPIO_NOPULL;
  GPIO_InitStruct.Speed = GPIO_SPEED_FREQ_VERY_HIGH;
  GPIO_InitStruct.Alternate = GPIO_AF10_OCTOSPI1;
  HAL_GPIO_Init(GPIOF, &GPIO_InitStruct);

  /*Configure GPIO pin : OCTOSPI_R_IO4_Pin */
  GPIO_InitStruct.Pin = OCTOSPI_R_IO4_Pin;
  GPIO_InitStruct.Mode = GPIO_MODE_AF_PP;
  GPIO_InitStruct.Pull = GPIO_NOPULL;
  GPIO_InitStruct.Speed = GPIO_SPEED_FREQ_VERY_HIGH;
  GPIO_InitStruct.Alternate = GPIO_AF3_OCTOSPI1;
  HAL_GPIO_Init(OCTOSPI_R_IO4_GPIO_Port, &GPIO_InitStruct);

  /*Configure GPIO pins : USB_C_P_Pin USB_C_PA11_Pin */
  GPIO_InitStruct.Pin = USB_C_P_Pin|USB_C_PA11_Pin;
  GPIO_InitStruct.Mode = GPIO_MODE_AF_PP;
  GPIO_InitStruct.Pull = GPIO_NOPULL;
  GPIO_InitStruct.Speed = GPIO_SPEED_FREQ_LOW;
  GPIO_InitStruct.Alternate = GPIO_AF10_USB;
  HAL_GPIO_Init(GPIOA, &GPIO_InitStruct);

  /*Configure GPIO pin : MIC_CCK1_Pin */
  GPIO_InitStruct.Pin = MIC_CCK1_Pin;
  GPIO_InitStruct.Mode = GPIO_MODE_AF_PP;
  GPIO_InitStruct.Pull = GPIO_NOPULL;
  GPIO_InitStruct.Speed = GPIO_SPEED_FREQ_LOW;
  GPIO_InitStruct.Alternate = GPIO_AF6_MDF1;
  HAL_GPIO_Init(MIC_CCK1_GPIO_Port, &GPIO_InitStruct);

  /*Configure GPIO pins : MIC_SDINx_Pin MIC_CCK0_Pin */
  GPIO_InitStruct.Pin = MIC_SDINx_Pin|MIC_CCK0_Pin;
  GPIO_InitStruct.Mode = GPIO_MODE_AF_PP;
  GPIO_InitStruct.Pull = GPIO_NOPULL;
  GPIO_InitStruct.Speed = GPIO_SPEED_FREQ_LOW;
  GPIO_InitStruct.Alternate = GPIO_AF3_ADF1;
  HAL_GPIO_Init(GPIOE, &GPIO_InitStruct);

  /*Configure GPIO pin : WRLS_WKUP_B_Pin */
  GPIO_InitStruct.Pin = WRLS_WKUP_B_Pin;
  GPIO_InitStruct.Mode = GPIO_MODE_OUTPUT_PP;
  GPIO_InitStruct.Pull = GPIO_NOPULL;
  GPIO_InitStruct.Speed = GPIO_SPEED_FREQ_LOW;
  HAL_GPIO_Init(WRLS_WKUP_B_GPIO_Port, &GPIO_InitStruct);

  /*Configure GPIO pins : WRLS_NOTIFY_Pin Mems_INT_IIS2MDC_Pin USB_IANA_Pin SPEED_SENSOR_Pin */
  GPIO_InitStruct.Pin = WRLS_NOTIFY_Pin|Mems_INT_IIS2MDC_Pin|USB_IANA_Pin|SPEED_SENSOR_Pin;
  GPIO_InitStruct.Mode = GPIO_MODE_INPUT;
  GPIO_InitStruct.Pull = GPIO_NOPULL;
  HAL_GPIO_Init(GPIOD, &GPIO_InitStruct);

  /*Configure GPIO pin : OCTOSPI_R_IO6_Pin */
  GPIO_InitStruct.Pin = OCTOSPI_R_IO6_Pin;
  GPIO_InitStruct.Mode = GPIO_MODE_AF_PP;
  GPIO_InitStruct.Pull = GPIO_NOPULL;
  GPIO_InitStruct.Speed = GPIO_SPEED_FREQ_VERY_HIGH;
  GPIO_InitStruct.Alternate = GPIO_AF10_OCTOSPI1;
  HAL_GPIO_Init(OCTOSPI_R_IO6_GPIO_Port, &GPIO_InitStruct);

  /*Configure GPIO pins : USB_UCPD_FLT_Pin Mems_ISM330DLC_INT1_Pin */
  GPIO_InitStruct.Pin = USB_UCPD_FLT_Pin|Mems_ISM330DLC_INT1_Pin;
  GPIO_InitStruct.Mode = GPIO_MODE_INPUT;
  GPIO_InitStruct.Pull = GPIO_NOPULL;
  HAL_GPIO_Init(GPIOE, &GPIO_InitStruct);

  /*Configure GPIO pins : OCTOSPI_R_CLK_P_Pin OCTOSPI_R_NCS_Pin */
  GPIO_InitStruct.Pin = OCTOSPI_R_CLK_P_Pin|OCTOSPI_R_NCS_Pin;
  GPIO_InitStruct.Mode = GPIO_MODE_AF_PP;
  GPIO_InitStruct.Pull = GPIO_NOPULL;
  GPIO_InitStruct.Speed = GPIO_SPEED_FREQ_VERY_HIGH;
  GPIO_InitStruct.Alternate = GPIO_AF10_OCTOSPI1;
  HAL_GPIO_Init(GPIOB, &GPIO_InitStruct);

  /*Configure GPIO pin : USB_VBUS_SENSE_Pin */
  GPIO_InitStruct.Pin = USB_VBUS_SENSE_Pin;
  GPIO_InitStruct.Mode = GPIO_MODE_INPUT;
  GPIO_InitStruct.Pull = GPIO_NOPULL;
  HAL_GPIO_Init(USB_VBUS_SENSE_GPIO_Port, &GPIO_InitStruct);

  /*Configure GPIO pin : WRLS_SPI2_NSS_Pin */
  GPIO_InitStruct.Pin = WRLS_SPI2_NSS_Pin;
  GPIO_InitStruct.Mode = GPIO_MODE_AF_PP;
  GPIO_InitStruct.Pull = GPIO_NOPULL;
  GPIO_InitStruct.Speed = GPIO_SPEED_FREQ_LOW;
  GPIO_InitStruct.Alternate = GPIO_AF5_SPI2;
  HAL_GPIO_Init(WRLS_SPI2_NSS_GPIO_Port, &GPIO_InitStruct);

  /*Configure GPIO pin : USB_UCPD_CC2_Pin */
  GPIO_InitStruct.Pin = USB_UCPD_CC2_Pin;
  GPIO_InitStruct.Mode = GPIO_MODE_ANALOG;
  GPIO_InitStruct.Pull = GPIO_NOPULL;
  HAL_GPIO_Init(USB_UCPD_CC2_GPIO_Port, &GPIO_InitStruct);

  /*Configure GPIO pins : Mems_STSAFE_RESET_Pin PF13 WRLS_WKUP_W_Pin */
  GPIO_InitStruct.Pin = Mems_STSAFE_RESET_Pin|GPIO_PIN_13|WRLS_WKUP_W_Pin;
  GPIO_InitStruct.Mode = GPIO_MODE_OUTPUT_PP;
  GPIO_InitStruct.Pull = GPIO_NOPULL;
  GPIO_InitStruct.Speed = GPIO_SPEED_FREQ_LOW;
  HAL_GPIO_Init(GPIOF, &GPIO_InitStruct);

  /*Configure GPIO pin : MIC_SDIN0_Pin */
  GPIO_InitStruct.Pin = MIC_SDIN0_Pin;
  GPIO_InitStruct.Mode = GPIO_MODE_AF_PP;
  GPIO_InitStruct.Pull = GPIO_NOPULL;
  GPIO_InitStruct.Speed = GPIO_SPEED_FREQ_LOW;
  GPIO_InitStruct.Alternate = GPIO_AF6_MDF1;
  HAL_GPIO_Init(MIC_SDIN0_GPIO_Port, &GPIO_InitStruct);

  /* USER CODE BEGIN MX_GPIO_Init_2 */

>>>>>>> 745192d0 (Added Ultrasonic sensor code to measure distance)
  /* USER CODE END MX_GPIO_Init_2 */
}

void Error_Handler(void)
{
	__disable_irq();
	while (1)
	{
	}
}
